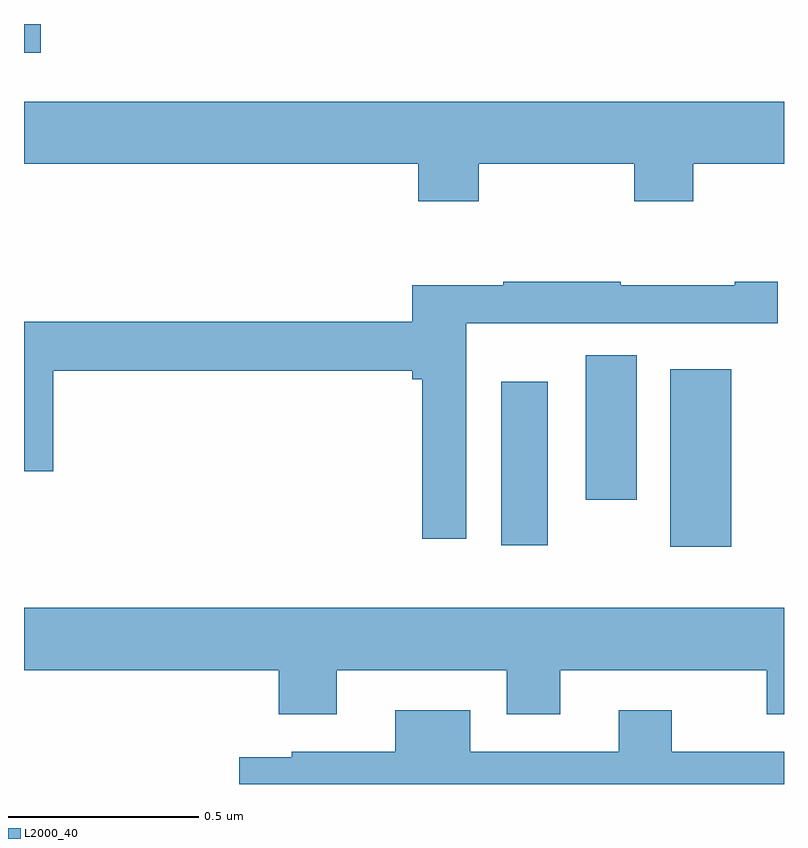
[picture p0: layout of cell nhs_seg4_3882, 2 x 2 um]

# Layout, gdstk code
import gdstk
lib = gdstk.Library(unit=1e-6, precision=1e-09)
def R(c, l, rs):  # rectangles x0, y0, x1, y1
    for r in rs: c.add(gdstk.rectangle(r[:2], r[2:], *l))
def P(c, l, *ps):  # polygons
    for p in ps: c.add(gdstk.Polygon(p, *l))
L2000_40 = (2000, 40)

nhs_seg4_3882 = lib.new_cell('nhs_seg4_3882')
R(nhs_seg4_3882, L2000_40, [(160.7,750.525,160.861,750.991), (160.256,750.528,160.378,750.958), (160.478,750.648,160.612,751.028), (159,751.824,159.044,751.9)])
P(nhs_seg4_3882, L2000_40, [(160.197,751.532),(160.606,751.532),(160.606,751.433),(160.761,751.433),(160.761,751.532),(161,751.532),(161,751.696),(159,751.696),(159,751.532),(160.037,751.532),(160.037,751.433),(160.197,751.433)],
  [(160.164,751.112),(160.374,751.112),(160.374,751.113),(160.984,751.113),(160.984,751.222),(160.871,751.222),(160.871,751.212),(160.571,751.212),(160.571,751.222),(160.261,751.222),(160.261,751.212),(160.022,751.212),(160.022,751.117),(159,751.117),(159,750.723),(159.077,750.723),(159.077,750.988),(160.022,750.988),(160.022,750.965),(160.048,750.965),(160.048,750.546),(160.164,750.546)],
  [(159.823,750.2),(160.271,750.2),(160.271,750.083),(160.411,750.083),(160.411,750.2),(160.955,750.2),(160.955,750.083),(161,750.083),(161,750.364),(159,750.364),(159,750.2),(159.671,750.2),(159.671,750.083),(159.823,750.083)],
  [(161,749.985),(160.705,749.985),(160.705,750.094),(160.565,750.094),(160.565,749.985),(160.174,749.985),(160.174,750.094),(159.977,750.094),(159.977,749.985),(159.705,749.985),(159.705,749.971),(159.567,749.971),(159.567,749.9),(161,749.9)])

lib.write_gds('nhs_seg4_3882.gds')
